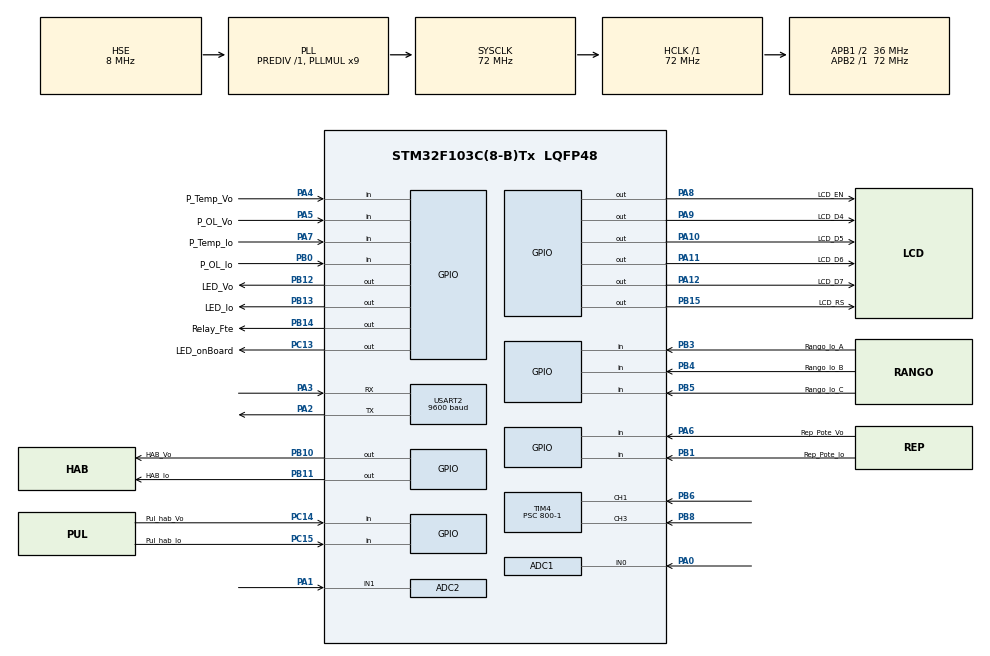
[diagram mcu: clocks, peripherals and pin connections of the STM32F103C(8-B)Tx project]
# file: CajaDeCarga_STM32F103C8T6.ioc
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ADC1.Channel-0\#ChannelRegularConversion=ADC_CHANNEL_0
ADC1.ExternalTrigConv=ADC_EXTERNALTRIGCONV_T3_TRGO
ADC1.Mode=__NULL
ADC1.NbrOfConversion=1
ADC1.NbrOfConversionFlag=1
ADC1.Rank-0\#ChannelRegularConversion=1
ADC1.SamplingTime-0\#ChannelRegularConversion=ADC_SAMPLETIME_239CYCLES_5
ADC1.master=1
ADC2.Channel-0\#ChannelRegularConversion=ADC_CHANNEL_1
ADC2.ExternalTrigConv=ADC_EXTERNALTRIGCONV_T3_TRGO
ADC2.NbrOfConversionFlag=1
ADC2.Rank-0\#ChannelRegularConversion=1
ADC2.SamplingTime-0\#ChannelRegularConversion=ADC_SAMPLETIME_239CYCLES_5
Mcu.Family=STM32F1
Mcu.Name=STM32F103C(8-B)Tx
Mcu.Package=LQFP48
NVIC.ADC1_2_IRQn=true\:0\:0\:true\:false\:true\:true\:true
NVIC.PriorityGroup=NVIC_PRIORITYGROUP_4
NVIC.TIM4_IRQn=true\:0\:0\:true\:false\:true\:true\:true
PA0-WKUP.Signal=ADCx_IN0
PA1.Signal=ADCx_IN1
PA10.GPIO_Label=LCD_D5
PA10.Signal=GPIO_Output
PA11.GPIO_Label=LCD_D6
PA11.Signal=GPIO_Output
PA12.GPIO_Label=LCD_D7
PA12.Signal=GPIO_Output
PA13.Mode=Serial_Wire
PA13.Signal=SYS_JTMS-SWDIO
PA14.Mode=Serial_Wire
PA14.Signal=SYS_JTCK-SWCLK
PA2.Mode=Asynchronous
PA2.Signal=USART2_TX
PA3.Mode=Asynchronous
PA3.Signal=USART2_RX
PA4.GPIO_Label=P_Temp_Vo
PA4.GPIO_PuPd=GPIO_PULLUP
PA4.Signal=GPIO_Input
PA5.GPIO_Label=P_OL_Vo
PA5.GPIO_PuPd=GPIO_PULLUP
PA5.Signal=GPIO_Input
PA6.GPIO_Label=Rep_Pote_Vo
PA6.GPIO_PuPd=GPIO_PULLUP
PA6.Signal=GPIO_Input
PA7.GPIO_Label=P_Temp_Io
PA7.GPIO_PuPd=GPIO_PULLUP
PA7.Signal=GPIO_Input
PA8.GPIO_Label=LCD_EN
PA8.Signal=GPIO_Output
PA9.GPIO_Label=LCD_D4
PA9.Signal=GPIO_Output
PB0.GPIO_Label=P_OL_Io
PB0.GPIO_PuPd=GPIO_PULLUP
PB0.Signal=GPIO_Input
PB1.GPIO_Label=Rep_Pote_Io
PB1.GPIO_PuPd=GPIO_PULLUP
PB1.Signal=GPIO_Input
PB10.GPIO_Label=HAB_Vo
PB10.GPIO_PuPd=GPIO_PULLDOWN
PB10.PinState=GPIO_PIN_SET
PB10.Signal=GPIO_Output
PB11.GPIO_Label=HAB_Io
PB11.GPIO_PuPd=GPIO_PULLDOWN
PB11.PinState=GPIO_PIN_SET
PB11.Signal=GPIO_Output
PB12.GPIO_Label=LED_Vo
PB12.PinState=GPIO_PIN_RESET
PB12.Signal=GPIO_Output
PB13.GPIO_Label=LED_Io
PB13.PinState=GPIO_PIN_RESET
PB13.Signal=GPIO_Output
PB14.GPIO_Label=Relay_Fte
PB14.GPIO_PuPd=GPIO_PULLDOWN
PB14.PinState=GPIO_PIN_RESET
PB14.Signal=GPIO_Output
PB15.GPIO_Label=LCD_RS
PB15.Signal=GPIO_Output
PB3.GPIO_Label=Rango_Io_A
PB3.GPIO_PuPd=GPIO_PULLDOWN
PB3.Signal=GPIO_Input
PB4.GPIO_Label=Rango_Io_B
PB4.GPIO_PuPd=GPIO_PULLDOWN
PB4.Signal=GPIO_Input
PB5.GPIO_Label=Rango_Io_C
PB5.GPIO_PuPd=GPIO_PULLDOWN
PB5.Signal=GPIO_Input
PB6.GPIO_PuPd=GPIO_PULLUP
PB6.Signal=S_TIM4_CH1
PB8.GPIO_PuPd=GPIO_PULLUP
PB8.Signal=S_TIM4_CH3
PC13-TAMPER-RTC.GPIO_Label=LED_onBoard
PC13-TAMPER-RTC.GPIO_PuPd=GPIO_NOPULL
PC13-TAMPER-RTC.Signal=GPIO_Output
PC14-OSC32_IN.GPIO_Label=Pul_hab_Vo
PC14-OSC32_IN.GPIO_PuPd=GPIO_PULLUP
PC14-OSC32_IN.Signal=GPIO_Input
PC15-OSC32_OUT.GPIO_Label=Pul_hab_Io
PC15-OSC32_OUT.GPIO_PuPd=GPIO_PULLUP
PC15-OSC32_OUT.Signal=GPIO_Input
PD0-OSC_IN.Mode=HSE-External-Oscillator
PD0-OSC_IN.Signal=RCC_OSC_IN
PD1-OSC_OUT.Mode=HSE-External-Oscillator
PD1-OSC_OUT.Signal=RCC_OSC_OUT
ProjectManager.HeapSize=0x200
ProjectManager.StackSize=0x400
ProjectManager.TargetToolchain=STM32CubeIDE
RCC.ADCPresc=RCC_ADCPCLK2_DIV6
RCC.AHBFreq_Value=72000000
RCC.APB1CLKDivider=RCC_HCLK_DIV2
RCC.APB1Freq_Value=36000000
RCC.APB1TimFreq_Value=72000000
RCC.APB2Freq_Value=72000000
RCC.APB2TimFreq_Value=72000000
RCC.HCLKFreq_Value=72000000
RCC.PLLMUL=RCC_PLL_MUL9
RCC.PLLSourceVirtual=RCC_PLLSOURCE_HSE
RCC.SYSCLKFreq_VALUE=72000000
RCC.SYSCLKSource=RCC_SYSCLKSOURCE_PLLCLK
RCC.USBFreq_Value=72000000
SH.ADCx_IN0.0=ADC1_IN0,IN0
SH.ADCx_IN1.0=ADC2_IN1,IN1
SH.S_TIM4_CH1.0=TIM4_CH1,Input_Capture1_from_TI1
SH.S_TIM4_CH3.0=TIM4_CH3,Input_Capture3_from_TI3
TIM3.Period=100-1
TIM3.Prescaler=72-1
TIM3.TIM_MasterOutputTrigger=TIM_TRGO_UPDATE
TIM4.Channel-Input_Capture1_from_TI1=TIM_CHANNEL_1
TIM4.Channel-Input_Capture3_from_TI3=TIM_CHANNEL_3
TIM4.ICPolarity_CH3=TIM_INPUTCHANNELPOLARITY_FALLING
TIM4.Period=10000
TIM4.Prescaler=800-1
USART2.BaudRate=9600
USART2.VirtualMode=VM_ASYNC
VP_TIM3_VS_ClockSourceINT.Mode=Internal
VP_TIM4_VS_ClockSourceINT.Mode=Internal
board=custom

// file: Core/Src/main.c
/* USER CODE BEGIN Header */
/**
  ******************************************************************************
  * @file           : main.c
  * @brief          : Main program body
  ******************************************************************************
  * @attention
  *
  * <h2><center>&copy; Copyright (c) 2021 STMicroelectronics.
  * All rights reserved.</center></h2>
  *
  * This software component is licensed by ST under BSD 3-Clause license,
  * the "License"; You may not use this file except in compliance with the
  * License. You may obtain a copy of the License at:
  *                        opensource.org/licenses/BSD-3-Clause
  *
  ******************************************************************************
  */
/* USER CODE END Header */
#include "main.h"
#include "adc.h"
#include "tim.h"
#include "usart.h"
#include "gpio.h"

/* USER CODE BEGIN Includes */
#include "math.h"
#include "lcd_fer.h"
//#include "float.h"
/* USER CODE END Includes */

/* USER CODE BEGIN PM */

#define PROTEC_V ( (P_Temp_Vo_GPIO_Port->IDR & P_Temp_Vo_Pin) | (P_OL_Vo_GPIO_Port->IDR & P_OL_Vo_Pin) )
#define PROTEC_A ( (P_Temp_Io_GPIO_Port->IDR & P_Temp_Io_Pin) | (P_OL_Io_GPIO_Port->IDR & P_OL_Io_Pin) )

#define RANGO_I ( ((Rango_Io_A_GPIO_Port->IDR) >> 3) & 0b111 )

#define PERIODO_BOARDLED 250
/* USER CODE END PM */

/* USER CODE BEGIN PV */

uint8_t   Vo_P_temp	=0;
uint8_t	  Vo_P_OL	=0;
uint8_t	  Vo_Rep	=0;
uint8_t	  Vo_Pul	=0;

uint8_t	  Io_P_temp	=0;
uint8_t	  Io_P_OL	=0;
uint8_t	  Io_Rep	=0;
uint8_t	  Io_Pul	=0;

//Prot Vo;
//Prot Io;

int32_t muestras[400];

//variables INPUT
static T_INPUT pulsadorVo;
static T_INPUT pulsadorIo;
static T_INPUT P_OL_Vo;
static T_INPUT P_OL_Io;
static uint8_t read_pulsadorVo;
static uint8_t read_pulsadorIo;
static uint8_t read_OL_Vo;
static uint8_t read_OL_Io;

uint8_t last_pulsadorVo = 0;
uint8_t last_pulsadorIo = 0;
uint8_t last_OL_Vo = 0;
uint8_t last_OL_Io = 0;
uint8_t lectura_entradas = 100; //anti-rebote en ms.
uint8_t lectura_proteccion = 10;

//variables TIMERS
uint8_t flagTIM2 = 0;

//variables de muestreo del ADC
uint8_t flag_adc1 = 0;
uint8_t flag_adc2 = 0;
uint8_t num_muestraADC2 = 0; //0, 2, 4... 398
uint8_t num_muestraADC1 = 1; //1, 3, 5... 399
uint8_t flag_mitadADC1 = 0;
uint8_t flag_mitadADC2 = 0;
uint8_t flag_completoADC1 = 0;
uint8_t flag_completoADC2 = 0;

int32_t offset_adc = 1990; //2048;
int32_t aux_muestra_v = 0;
int32_t aux_muestra_i = 0;

int32_t acumulaV = 0;
int32_t acumulaI = 0;
int32_t acum_RMS_samplesV = 0;
int32_t acum_RMS_samplesI = 0;
uint8_t cuenta_RMS_samplesV = 0;
uint8_t cuenta_RMS_samplesI = 0;
int32_t RMS_samplesV = 0;
int32_t RMS_samplesI = 0;
uint8_t status_adc = 0;

//variables de selección de rango
uint8_t last_rango_Io;
uint8_t rango_Io = 1;
int32_t Imax; //valor máximo de un rango
int32_t coefRango_Io; //coeficioente de conversión de codigo ADC al rango de corriente
int32_t valor_Io;
int32_t valor_Vo;
int32_t Vmax = 60811; //608.11 //valor máxiom del rango (Vp).
int32_t coefRango_Vo = 2969; //2762; //0.297002

//variables de detección de fase
uint8_t flag_faseNegativa = 0;
uint32_t acum_fase = 0;
uint8_t cuenta_fase = 0;
uint32_t valor_fase = 0;

//variables de systick
uint16_t count_tick = 0;

//variables de protecciones
T_PROTEC flag_protecV = P_OK;
T_PROTEC flag_protecI = P_OK;
uint8_t flag_relay = 0;

uint16_t transitorioFunete = 3000; //en ms.

static T_PROTEC status_proteccionVo = P_APAGADO;
static T_PROTEC status_proteccionIo = P_APAGADO;

static uint8_t p_tempVo;
static uint8_t p_tempIo;
static uint8_t poteVo;
static uint8_t poteIo;

uint8_t demoraRelay = 100; //en 10 * ms.
uint8_t estadoDemoraRelay = 0;

//variables de impresión de pantalla
char texto[30];
uint16_t refrescaPantalla = 500; //tiempo de refresco de pantalla en ms.

//variables miscelaneas
uint16_t periodo_BoardLed = PERIODO_BOARDLED;

/* USER CODE END PV */

void SystemClock_Config(void);
/* USER CODE BEGIN PFP */

void valor_mediciones (void);
void imprimePantalla (void);
void protecciones (void);
void update_entradas (void);
void update_proteccion (void);
void check_entradas (void);
void check_proteccion (void);
/* USER CODE END PFP */

/* USER CODE BEGIN 0 */

uint8_t estado_Vo=0;
uint8_t estado_Io=0;

uint16_t i=0;

/* USER CODE END 0 */

int main(void)
{

  /* MCU Configuration--------------------------------------------------------*/

  /* Reset of all peripherals, Initializes the Flash interface and the Systick. */
  HAL_Init();

  /* Configure the system clock */
  SystemClock_Config();

  /* Initialize all configured peripherals */
  MX_GPIO_Init();
  MX_ADC1_Init();
  MX_TIM3_Init();
  MX_TIM4_Init();
  MX_USART2_UART_Init();
  MX_ADC2_Init();
  /* USER CODE BEGIN 2 */

  HAL_TIM_Base_Start(&htim4);  //captura fase
//  HAL_TIM_Base_Start_IT(&htim2);  //refresco de 10 ms.
  HAL_TIM_IC_Start_IT(&htim4, TIM_CHANNEL_1); //captura fase
  HAL_TIM_IC_Start_IT(&htim4, TIM_CHANNEL_3); //captura fase

  LCD_Init();
  LCD_GoToxy(7, 1);
  sprintf(texto, "OELEC");
  LCD_Print(texto);
  LCD_GoToxy(6, 2);
  sprintf(texto, "GIM50v5");
  LCD_Print(texto);

  //Led de la placa
  HAL_GPIO_WritePin(LED_onBoard_GPIO_Port, LED_onBoard_Pin, 1);

  //Tiempo de arranque para la fuente de 48V, los leds actuan de testigo
  HAL_GPIO_WritePin(LED_Vo_GPIO_Port,LED_Vo_Pin, 1);
  HAL_GPIO_WritePin(LED_Io_GPIO_Port,LED_Io_Pin, 1);

  HAL_Delay(3000);

  HAL_GPIO_WritePin(Relay_Fte_GPIO_Port, Relay_Fte_Pin, 1);
  flag_relay=1;

  HAL_Delay(1000);

  LCD_Init();
  LCD_GoToxy(5, 0);
  sprintf(texto, "MEDICIONES");
  LCD_Print(texto);
  LCD_GoToxy(0, 1);
  sprintf(texto, "  Vo:");
  LCD_Print(texto);
  LCD_GoToxy(0, 2);
  sprintf(texto, "  Io:");
  LCD_Print(texto);
  LCD_GoToxy(0, 3);
  sprintf(texto, " Phi:");
  LCD_Print(texto);
  HAL_Delay(200);

  HAL_GPIO_WritePin(LED_Vo_GPIO_Port,LED_Vo_Pin, 0);
  HAL_GPIO_WritePin(LED_Io_GPIO_Port,LED_Io_Pin, 0);

  HAL_TIM_Base_Start(&htim3); //sincro ADC

  //HAL_ADC_Start_DMA(&hadc1, (uint32_t*) muestras, sizeof(muestras)); //ADC por DMA
  HAL_ADC_Start_IT(&hadc1);
  HAL_ADC_Start_IT(&hadc2);

  last_rango_Io = RANGO_I;

  /* USER CODE END 2 */

  /* Infinite loop */
  /* USER CODE BEGIN WHILE */
  while (1)
  {
/*
	  if (HAL_GPIO_ReadPin(Pul_hab_Io_GPIO_Port, Pul_hab_Io_Pin)){
		  HAL_GPIO_WritePin(GPIOC, GPIO_PIN_13, 0);
	  }else{
		  HAL_GPIO_WritePin(GPIOC, GPIO_PIN_13, 1);
	  }
*/
	  if (count_tick != 0){ //acciones del systickHandler

		  if (refrescaPantalla != 0){
			  refrescaPantalla--;
		  }else{
			  imprimePantalla();
		  }

		  if (periodo_BoardLed != 0){
			  periodo_BoardLed--;
		  }else{
//			  HAL_GPIO_TogglePin(LED_Board_GPIO_Port, LED_Board_Pin);
			  periodo_BoardLed = PERIODO_BOARDLED;
		  }

		  if (lectura_entradas != 0){
			  lectura_entradas--;
		  }else{
			  update_entradas();
		  }

		  if (lectura_proteccion != 0){
			  lectura_proteccion--;
		  }else{
			  update_proteccion();
		  }

		  if (transitorioFunete != 0)
			  transitorioFunete--;

		  count_tick = 0;
	  } //fin if (count_tick != 0)

	  check_entradas();
	  check_proteccion();

	  switch (status_adc) {

		  case 3:

			  if (flag_adc1 != 0){
				  muestras[num_muestraADC1] = HAL_ADC_GetValue(&hadc1);

				  if (num_muestraADC1 == 199)
					  flag_mitadADC1 = 1;

				  if (num_muestraADC1 < 399){
					  num_muestraADC1 += 2;
				  }else{
					  num_muestraADC1 = 1;
					  flag_completoADC1 = 1;
				  }

				  flag_adc1 = 0;
			  } //fin if (flag_adc1 != 0

			  if (flag_adc2 != 0){
				  muestras[num_muestraADC2] = HAL_ADC_GetValue(&hadc2);

				  if (num_muestraADC2 == 198)
					  flag_mitadADC2 = 1;

				  if (num_muestraADC2 < 398){
					  num_muestraADC2 += 2;
				  }else{
					  num_muestraADC2 = 0;
					  flag_completoADC2 = 1;
				  }

				  flag_adc2 = 0;
			  } //fin if (flag_adc2 != 0

			  if (flag_mitadADC1 != 0 && flag_mitadADC2 != 0){
				  status_adc = 1;
				  flag_mitadADC1 = 0;
				  flag_mitadADC2 = 0;
				  break;
			  }

			  if (flag_completoADC1 != 0 && flag_completoADC2 != 0){
				  status_adc = 2;
				  flag_completoADC1 = 0;
				  flag_completoADC2 = 0;
				  break;
			  }

			  if ( (!flag_adc1) && (!flag_adc2)) status_adc = 0;
		  break;
		  case 1:
			  for (uint16_t i = 0; i < 200; i+=2){
//				  muestras[i]	-=offset_adc;
//				  muestras[i+1]	-=offset_adc;
//
//				  acumulaV += muestras[i]*muestras[i];
//				  acumulaI += muestras[i+1]*muestras[i+1];

				  aux_muestra_v =muestras[i] - offset_adc;
				  aux_muestra_i =muestras[i+1] - offset_adc;

				  acumulaV += aux_muestra_v*aux_muestra_v;
				  acumulaI += aux_muestra_i*aux_muestra_i;
			  }

			  acum_RMS_samplesV += (uint32_t) (sqrt( (double) acumulaV) / 10);
			  acum_RMS_samplesI += (uint32_t) (sqrt( (double) acumulaI) / 10);
			  cuenta_RMS_samplesV++;
			  cuenta_RMS_samplesI++;

			  if (cuenta_RMS_samplesV == 10){
				  RMS_samplesV = acum_RMS_samplesV / 10;
				  RMS_samplesI = acum_RMS_samplesI / 10;

				  cuenta_RMS_samplesV = 0;
				  acum_RMS_samplesV = 0;
				  cuenta_RMS_samplesI = 0;
				  acum_RMS_samplesI = 0;

				  if (RMS_samplesV > 1432){
					  status_proteccionVo = P_MAXIMO;
					  HAL_GPIO_WritePin(Relay_Fte_GPIO_Port, Relay_Fte_Pin, 0); //apaga fuente
				  }
				  if (RMS_samplesI > 1392){
					  status_proteccionIo = P_MAXIMO;
					  HAL_GPIO_WritePin(Relay_Fte_GPIO_Port, Relay_Fte_Pin, 0); //apaga fuente
				  }
			  }

			  acumulaV = 0;
			  acumulaI = 0;

			  //status_adc = 0;
			  if (status_adc != 3) status_adc = 0;

		  break;
		  case 2:
			  for (uint16_t i = 200; i < 400; i+=2){

//				  muestras[i]	-=offset_adc;
//				  muestras[i+1]	-=offset_adc;

				  aux_muestra_v =muestras[i] - offset_adc;
				  aux_muestra_i =muestras[i+1] - offset_adc;

//				  acumulaV += muestras[i]*muestras[i];
//				  acumulaI += muestras[i+1]*muestras[i+1];

				  acumulaV += aux_muestra_v*aux_muestra_v;
				  acumulaI += aux_muestra_i*aux_muestra_i;
			  }

			  acum_RMS_samplesV += (uint32_t) (sqrt( (double) acumulaV) / 10);
			  acum_RMS_samplesI += (uint32_t) (sqrt( (double) acumulaI) / 10);
			  cuenta_RMS_samplesV++;
			  cuenta_RMS_samplesI++;

			  if (cuenta_RMS_samplesV == 10){
				  RMS_samplesV = acum_RMS_samplesV / 10;
				  RMS_samplesI = acum_RMS_samplesI / 10;

				  valor_mediciones ();

				  cuenta_RMS_samplesV = 0;
				  acum_RMS_samplesV = 0;
				  cuenta_RMS_samplesI = 0;
				  acum_RMS_samplesI = 0;

				  if (RMS_samplesV > 1432){
					  status_proteccionVo = P_MAXIMO;
					  HAL_GPIO_WritePin(Relay_Fte_GPIO_Port, Relay_Fte_Pin, 0); //apaga fuente
				  }
				  if (RMS_samplesI > 1432){
					  status_proteccionIo = P_MAXIMO;
					  HAL_GPIO_WritePin(Relay_Fte_GPIO_Port, Relay_Fte_Pin, 0); //apaga fuente
				  }
			  }

			  acumulaV = 0;
			  acumulaI = 0;

//			  status_adc = 0;
			  if (status_adc != 3) status_adc = 0;

		  default:
		  break;
	  } //fin switch(status_adc)

	  if (cuenta_fase == 5){

		  if (acum_fase > 4500){ //mayor que 180 grados.
			  valor_fase = acum_fase * 4 / 10 - 3600; //acum_fase * 0.04 - 360.0
		  }else{
			  valor_fase = acum_fase * 4 / 10; //acum_fase * 0.04
		  }

		  acum_fase = 0;
		  cuenta_fase = 0;
	  } //fin if cuenta_fase

	  protecciones ();

	  if (last_rango_Io != RANGO_I) {

		  if (status_proteccionIo != P_APAGADO
				  || status_proteccionIo != P_DESHAB) {

			  if (!(status_proteccionIo == P_TEMP
					  || status_proteccionIo == P_OL
					  || status_proteccionIo == P_MAXIMO)) {

				  flag_relay = 1;
				  HAL_GPIO_WritePin(Relay_Fte_GPIO_Port, Relay_Fte_Pin, 0); //apaga fuente
			  }
		  }
		  status_proteccionIo = P_OL;
	  }

	  last_rango_Io = RANGO_I;

    /* USER CODE END WHILE */

  }
}

void SystemClock_Config(void)
{
  RCC_OscInitTypeDef RCC_OscInitStruct = {0};
  RCC_ClkInitTypeDef RCC_ClkInitStruct = {0};
  RCC_PeriphCLKInitTypeDef PeriphClkInit = {0};

  /** Initializes the RCC Oscillators according to the specified parameters
  * in the RCC_OscInitTypeDef structure.
  */
  RCC_OscInitStruct.OscillatorType = RCC_OSCILLATORTYPE_HSE;
  RCC_OscInitStruct.HSEState = RCC_HSE_ON;
  RCC_OscInitStruct.HSEPredivValue = RCC_HSE_PREDIV_DIV1;
  RCC_OscInitStruct.HSIState = RCC_HSI_ON;
  RCC_OscInitStruct.PLL.PLLState = RCC_PLL_ON;
  RCC_OscInitStruct.PLL.PLLSource = RCC_PLLSOURCE_HSE;
  RCC_OscInitStruct.PLL.PLLMUL = RCC_PLL_MUL9;
  if (HAL_RCC_OscConfig(&RCC_OscInitStruct) != HAL_OK)
  {
    Error_Handler();
  }
  /** Initializes the CPU, AHB and APB buses clocks
  */
  RCC_ClkInitStruct.ClockType = RCC_CLOCKTYPE_HCLK|RCC_CLOCKTYPE_SYSCLK
                              |RCC_CLOCKTYPE_PCLK1|RCC_CLOCKTYPE_PCLK2;
  RCC_ClkInitStruct.SYSCLKSource = RCC_SYSCLKSOURCE_PLLCLK;
  RCC_ClkInitStruct.AHBCLKDivider = RCC_SYSCLK_DIV1;
  RCC_ClkInitStruct.APB1CLKDivider = RCC_HCLK_DIV2;
  RCC_ClkInitStruct.APB2CLKDivider = RCC_HCLK_DIV1;

  if (HAL_RCC_ClockConfig(&RCC_ClkInitStruct, FLASH_LATENCY_2) != HAL_OK)
  {
    Error_Handler();
  }
  PeriphClkInit.PeriphClockSelection = RCC_PERIPHCLK_ADC;
  PeriphClkInit.AdcClockSelection = RCC_ADCPCLK2_DIV6;
  if (HAL_RCCEx_PeriphCLKConfig(&PeriphClkInit) != HAL_OK)
  {
    Error_Handler();
  }
}

/* USER CODE BEGIN 4 */
void valor_mediciones (void){

	switch (RANGO_I){

		default:
		case 1:
			//convierte a float 500mA
			coefRango_Io = 4847;
			valor_Io = (RMS_samplesI * coefRango_Io / 100);
		break;
		case 2:
			//convierte a float 1A
			coefRango_Io = 960;
			valor_Io = (RMS_samplesI * coefRango_Io / 1000);
		break;
		case 3:
			//convierte a float 2A
			coefRango_Io = 1902;
			valor_Io = (RMS_samplesI * coefRango_Io / 10000);
		break;
		case 4:
			//convierte a float 5A
			coefRango_Io = 4488;
			valor_Io = (RMS_samplesI * coefRango_Io / 10000);
		break;
		case 5:
			//convierte a float 10A
			coefRango_Io = 897;
			valor_Io = (RMS_samplesI * coefRango_Io / 1000);
		break;
		case 6:
			//convierte a float 20A
			coefRango_Io = 1795;
			valor_Io = (RMS_samplesI * coefRango_Io / 1000);
		break;
		case 7:
			//convierte a float 50A
			coefRango_Io = 4488;
			valor_Io = (RMS_samplesI * coefRango_Io / 1000);
		break;

	} //fin switch RANG_I

	valor_Vo = (RMS_samplesV * coefRango_Vo / 100);

} //fin valor_mediciones()

void imprimePantalla(void) {

	valor_mediciones();

//	LCD_GoToxy(5, 0);
//	sprintf(texto, "MEDICIONES");
	//LCD_Print("Titulo");
//	LCD_Print(texto);
	LCD_GoToxy(5, 1);

	LCD_Print("               ");
	LCD_GoToxy(5, 1);
	switch (status_proteccionVo) {
		default:
		break;
		case P_OK:
//				sprintf(texto, "Tension: %3.2f [V]", valor_Vo);
			if (valor_Vo % 100 < 10){
				sprintf(texto, " %d.0%d [V]", valor_Vo / 100, valor_Vo % 100);
			}else{
				sprintf(texto, " %d.%d [V]", valor_Vo / 100, valor_Vo % 100);
			}

		break;
		case P_TEMP:
			sprintf(texto, " Sobretemp.");
		break;
		case P_OL:
			sprintf(texto, " Sobrecarga");
		break;
		case P_APAGADO:
			sprintf(texto, " ---    ");
		break;
		case P_MAXIMO:
			sprintf(texto, " valor maximo");
		break;
	} //fin switch flag_protecV
	LCD_Print(texto);
	LCD_GoToxy(5, 2);
	LCD_Print("               ");
	LCD_GoToxy(5, 2);
	switch (status_proteccionIo) {
		default:
		break;
		case P_OK:
			if (RANGO_I == 1){
//					sprintf(texto, "Corriente: %5.2f[mA]", valor_Io);
				if (valor_Io % 100 < 10){
					sprintf(texto, " %d.0%d[mA]", valor_Io / 100, valor_Io % 100);
				}else{
					sprintf(texto, " %d.%d[mA]", valor_Io / 100, valor_Io % 100);
				}
			}else if (RANGO_I == 2){
//					sprintf(texto, "Corriente: %4.2f [A]", valor_Io);
				if (valor_Io % 1000 < 100){
					if (valor_Io % 1000 < 10){
						sprintf(texto, " %d.00%d [A]", valor_Io / 10, valor_Io % 1000);
					}else{
						sprintf(texto, " %d.0%d [A]", valor_Io / 10, valor_Io % 1000);
					}
				}else{
					sprintf(texto, " %d.%d [A]", valor_Io / 10, valor_Io % 1000);
				}
			}else{
				if (valor_Io % 100 < 10){
					sprintf(texto, " %d.0%d [A]", valor_Io / 100, valor_Io % 100);
				}else{
					sprintf(texto, " %d.%d [A]", valor_Io / 100, valor_Io % 100);
				}
			}
		break;
		case P_TEMP:
			sprintf(texto, " Sobretemp.");
		break;
		case P_OL:
			sprintf(texto, " Sobrecarga");
		break;
		case P_APAGADO:
			sprintf(texto, " ---    ");
		break;
		case P_MAXIMO:
			sprintf(texto, " valor maximo");
		break;

	} //fin switch flag_protecI
	LCD_Print(texto);
	LCD_GoToxy(5, 3);
	LCD_Print("               ");
	LCD_GoToxy(5, 3);
	sprintf(texto, " %d.%d [deg]", valor_fase / 10, valor_fase % 10);
	LCD_Print(texto);

	refrescaPantalla = 500;

} //fin imprimePantalla ()

void protecciones (void){

	//HAL_Delay(100);
//	HAL_GPIO_TogglePin(LED_Board_GPIO_Port, LED_Board_Pin);
	p_tempVo = HAL_GPIO_ReadPin(P_Temp_Vo_GPIO_Port, P_Temp_Vo_Pin);
	p_tempIo = HAL_GPIO_ReadPin(P_Temp_Io_GPIO_Port, P_Temp_Io_Pin);
	poteVo = HAL_GPIO_ReadPin(Rep_Pote_Vo_GPIO_Port, Rep_Pote_Vo_Pin);
	poteIo = HAL_GPIO_ReadPin(Rep_Pote_Io_GPIO_Port, Rep_Pote_Io_Pin);

	switch (status_proteccionVo) {
		case P_APAGADO:
		case P_DESHAB:

			HAL_GPIO_WritePin(Relay_Fte_GPIO_Port, Relay_Fte_Pin, 1); //fuente prendida
			HAL_GPIO_WritePin(HAB_Vo_GPIO_Port, HAB_Vo_Pin, 1); //apaga HAB
			HAL_GPIO_WritePin(LED_Vo_GPIO_Port, LED_Vo_Pin, 0); //y apaga el led

			if (poteVo != 0)
				break; //pote distinto de 0
			if (p_tempVo != 0)
				break; //hay alerta de temperatura
			if (P_OL_Vo == RISE || P_OL_Vo == HIGH_L)
				break; //hay alerta de sobre carga

			if (pulsadorVo == FALL)
				status_proteccionVo = P_OK;
		break;
		case P_OK:

			HAL_GPIO_WritePin(Relay_Fte_GPIO_Port, Relay_Fte_Pin, 1); //fuente prendida
			HAL_GPIO_WritePin(HAB_Vo_GPIO_Port, HAB_Vo_Pin, 0); //prende HAB
			HAL_GPIO_WritePin(LED_Vo_GPIO_Port, LED_Vo_Pin, 1); //y prende el led

			if (pulsadorVo == FALL) {
				LCD_Init();
				LCD_GoToxy(5, 0);
				sprintf(texto, "MEDICIONES");
				LCD_Print(texto);
				LCD_GoToxy(0, 1);
				sprintf(texto, "  Vo:");
				LCD_Print(texto);
				LCD_GoToxy(0, 2);
				sprintf(texto, "  Io:");
				LCD_Print(texto);
				LCD_GoToxy(0, 3);
				sprintf(texto, " Phi:");
				LCD_Print(texto);

				status_proteccionVo = P_APAGADO;
				//avisa por pantalla
				break;
			}

			if (p_tempVo != 0) {
				status_proteccionVo = P_TEMP;
				//aviso por pantalla
				break;
			}

			if (P_OL_Vo == RISE || P_OL_Vo == HIGH_L) {
				status_proteccionVo = P_OL;
				flag_relay = 1;
				//aviso por pantalla
				break;
			}

		break;
		case P_TEMP:
		case P_OL:
		case P_MAXIMO:

			HAL_GPIO_WritePin(HAB_Vo_GPIO_Port, HAB_Vo_Pin, 1); //apaga HAB
			HAL_GPIO_WritePin(LED_Vo_GPIO_Port, LED_Vo_Pin, 0); //y apaga el led
			if (flag_relay != 0)
				HAL_GPIO_WritePin(Relay_Fte_GPIO_Port, Relay_Fte_Pin, 0); //apaga fuente

			if (p_tempVo != 0)
				break; //hay alerta de temperatura

			if (P_OL_Vo == RISE || P_OL_Vo == HIGH_L) {
				break; //hay alerta de sobre tensión
			}

			if (poteVo != 0)
				break; // pote distinto de 0

			if (pulsadorVo == FALL) {

				if (flag_relay != 0) {
					status_proteccionVo = P_FUENTE;
					transitorioFunete = 1000; //en ms.
				} else {
					status_proteccionVo = P_OK;
				}
			}

		break;
		case P_FUENTE:

			HAL_GPIO_WritePin(Relay_Fte_GPIO_Port, Relay_Fte_Pin, 1); //prende fuente

			if (transitorioFunete != 0) {
				break; //fatal para el descuento de 1s.
			}

			if (p_tempVo != 0) {
				break; //hay alerta de temperatura
			}

			if (P_OL_Vo == RISE || P_OL_Vo == HIGH_L) {
				break; //hay alerta de sobre carga
			}

			if (poteVo != 0) {
				break; //pote distinto de 0.
			}

			if (pulsadorVo == FALL) {
				status_proteccionVo = P_OK;
			}

		break;
		default:
		break;

	} //end switch status_proteccionVo

	switch (status_proteccionIo) {
		case P_APAGADO:
		case P_DESHAB:

			HAL_GPIO_WritePin(Relay_Fte_GPIO_Port, Relay_Fte_Pin, 1); //fuente prendida
			HAL_GPIO_WritePin(HAB_Io_GPIO_Port, HAB_Io_Pin, 1); //apaga HAB
			HAL_GPIO_WritePin(LED_Io_GPIO_Port, LED_Io_Pin, 0); //y apaga el led

			if (poteIo != 0)
				break; //pote distinto de 0
			if (p_tempIo != 0)
				break; //hay alerta de temperatura
			if (P_OL_Io == RISE || P_OL_Io == HIGH_L)
				break; //hay alerta de sobre carga

			if (pulsadorIo == FALL)
				status_proteccionIo = P_OK;
		break;
		case P_OK:

			HAL_GPIO_WritePin(HAB_Io_GPIO_Port, HAB_Io_Pin, 0); //prende HAB
			HAL_GPIO_WritePin(LED_Io_GPIO_Port, LED_Io_Pin, 1); //y prende el led

			if (pulsadorIo == FALL) {
				LCD_Init();
				LCD_GoToxy(5, 0);
				sprintf(texto, "MEDICIONES");
				LCD_Print(texto);
				LCD_GoToxy(0, 1);
				sprintf(texto, "  Vo:");
				LCD_Print(texto);
				LCD_GoToxy(0, 2);
				sprintf(texto, "  Io:");
				LCD_Print(texto);
				LCD_GoToxy(0, 3);
				sprintf(texto, " Phi:");
				LCD_Print(texto);

				status_proteccionIo = P_APAGADO;
				//avisa por pantalla
				break;
			}

			if (p_tempIo != 0) {
				status_proteccionIo = P_TEMP;
				//aviso por pantalla
				break;
			}

			if (P_OL_Io == RISE || P_OL_Io == HIGH_L) {
				status_proteccionIo = P_OL;
				flag_relay = 1;
				//aviso por pantalla
				break;
			}

		break;
		case P_TEMP:
		case P_OL:
		case P_MAXIMO:

			HAL_GPIO_WritePin(HAB_Io_GPIO_Port, HAB_Io_Pin, 1); //apaga HAB
			HAL_GPIO_WritePin(LED_Io_GPIO_Port, LED_Io_Pin, 0); //y apaga el led
			if (flag_relay != 0)
				HAL_GPIO_WritePin(Relay_Fte_GPIO_Port, Relay_Fte_Pin, 0); //apaga fuente

			if (p_tempIo != 0)
				break; //hay alerta de temperatura

			if (P_OL_Io == RISE || P_OL_Io == HIGH_L) {
				break; //hay alerta de sobre tensión
			}

			if (poteIo != 0)
				break; // pote distinto de 0

			if (pulsadorIo == FALL) {

				if (flag_relay != 0) {
					status_proteccionIo = P_FUENTE;
					transitorioFunete = 1000; //en ms.
				} else {
					status_proteccionIo = P_OK;
				}
			}

		break;
		case P_FUENTE:

			HAL_GPIO_WritePin(Relay_Fte_GPIO_Port, Relay_Fte_Pin, 1); //prende fuente

			if (transitorioFunete != 0) {
				break; //fatal para el descuento de 1s.
			}

			if (p_tempIo != 0) {
				break; //hay alerta de temperatura
			}

			if (P_OL_Io == RISE || P_OL_Io == HIGH_L) {
				break; //hay alerta de sobre carga
			}

			if (poteIo != 0) {
				break; //pote distinto de 0.
			}

			if (pulsadorIo == FALL) {
				status_proteccionIo = P_OK;
			}

		break;
		default:
		break;

	} //end switch status_proteccionIo

} //fin protecciones ()

void  update_entradas(void){

	read_pulsadorVo = HAL_GPIO_ReadPin(Pul_hab_Vo_GPIO_Port, Pul_hab_Vo_Pin);
	read_pulsadorIo = HAL_GPIO_ReadPin(Pul_hab_Io_GPIO_Port, Pul_hab_Io_Pin);

	lectura_entradas = 100;

} //fin update_entradas()

void check_entradas (void){

	if (read_pulsadorVo) {
		if (last_pulsadorVo) {
			pulsadorVo = HIGH_L;
		} else {
			pulsadorVo = RISE;
		}
	} else {
		if (last_pulsadorVo) {
			pulsadorVo = FALL;
		} else {
			pulsadorVo = LOW_L;
		}
	} //end if pulsadorVo

	if (read_pulsadorIo) {
		if (last_pulsadorIo) {
			pulsadorIo = HIGH_L;
		} else {
			pulsadorIo = RISE;
		}
	} else {
		if (last_pulsadorIo) {
			pulsadorIo = FALL;
		} else {
			pulsadorIo = LOW_L;
		}
	} //end if pulsadorIo

	last_pulsadorIo = read_pulsadorIo;
	last_pulsadorVo = read_pulsadorVo;

} //fin check_entradas()

/*
 * Funcion: update_proteccion
 * Detalle: lee el las entradas de las protecciones de sobre carga, tras cumplirse
 * 			el tiempo de lectura (condicion externa a la funcion)
 *
 *
 */
void  update_proteccion(void){

	read_OL_Vo = HAL_GPIO_ReadPin(P_OL_Vo_GPIO_Port, P_OL_Vo_Pin);
	read_OL_Io = HAL_GPIO_ReadPin(P_OL_Io_GPIO_Port, P_OL_Io_Pin);

	lectura_proteccion = 10;

} //fin update_entradas()

void check_proteccion (void){

	if (read_OL_Vo) {
			if (last_OL_Vo) {
				P_OL_Vo = HIGH_L;
			} else {
				P_OL_Vo = RISE;
			}
		} else {
			if (last_OL_Vo) {
				P_OL_Vo = FALL;
			} else {
				P_OL_Vo = LOW_L;
			}
		} //end if P_OL_Vo

		if (read_OL_Io) {
			if (last_OL_Io) {
				P_OL_Io = HIGH_L;
			} else {
				P_OL_Io = RISE;
			}
		} else {
			if (last_OL_Io) {
				P_OL_Io = FALL;
			} else {
				P_OL_Io = LOW_L;
			}
		} //end if P_OL_Io

		last_OL_Io = read_OL_Io;
		last_OL_Vo = read_OL_Vo;
} //fin check_proteccion ()

void HAL_TIM_PeriodElapsedCallback(TIM_HandleTypeDef *htim){
	if (htim->Instance == TIM2){
		flagTIM2 = 1;
		count_tick ++;
	}
}

void HAL_ADC_ConvHalfCpltCallback(ADC_HandleTypeDef* hadc){
	status_adc = 1;
}

void HAL_ADC_ConvCpltCallback(ADC_HandleTypeDef* hadc){
	//HAL_ADC_Stop_DMA(&hadc1);
	//HAL_TIM_Base_Stop(&htim3); //sincro ADC
//	status_adc = 2;
	status_adc = 3;

	if (hadc->Instance == ADC1){
		flag_adc1 = 1;
	}
	if (hadc->Instance == ADC2){
			flag_adc2 = 1;
		}

}

void HAL_TIM_IC_CaptureCallback(TIM_HandleTypeDef *htim){

	if (htim->Channel == HAL_TIM_ACTIVE_CHANNEL_1){ // i.e.: PB6 ascendente

		__HAL_TIM_SET_COUNTER (&htim4, 0);

	} //fin if HAL_TIM_ACTIVE_CHANNEL_1

	if (htim->Channel == HAL_TIM_ACTIVE_CHANNEL_3){ // i.e.: PB8 descendente

		acum_fase += __HAL_TIM_GET_COUNTER (&htim4);
		cuenta_fase++;

	} //fin HAL_TIM_ACTIVE_CHANNEL_3

} //fin HAL_TIM_IC_CaptureCallback()

//void HAL_TIM_PeriodElapsedCallback(TIM_HandleTypeDef *htim){
//	if (htim->Instance == TIM2){
//		flag_tim2 = 1;
//	}
//}

/* USER CODE END 4 */

void Error_Handler(void)
{
}

/************************ (C) COPYRIGHT STMicroelectronics *****END OF FILE****/
